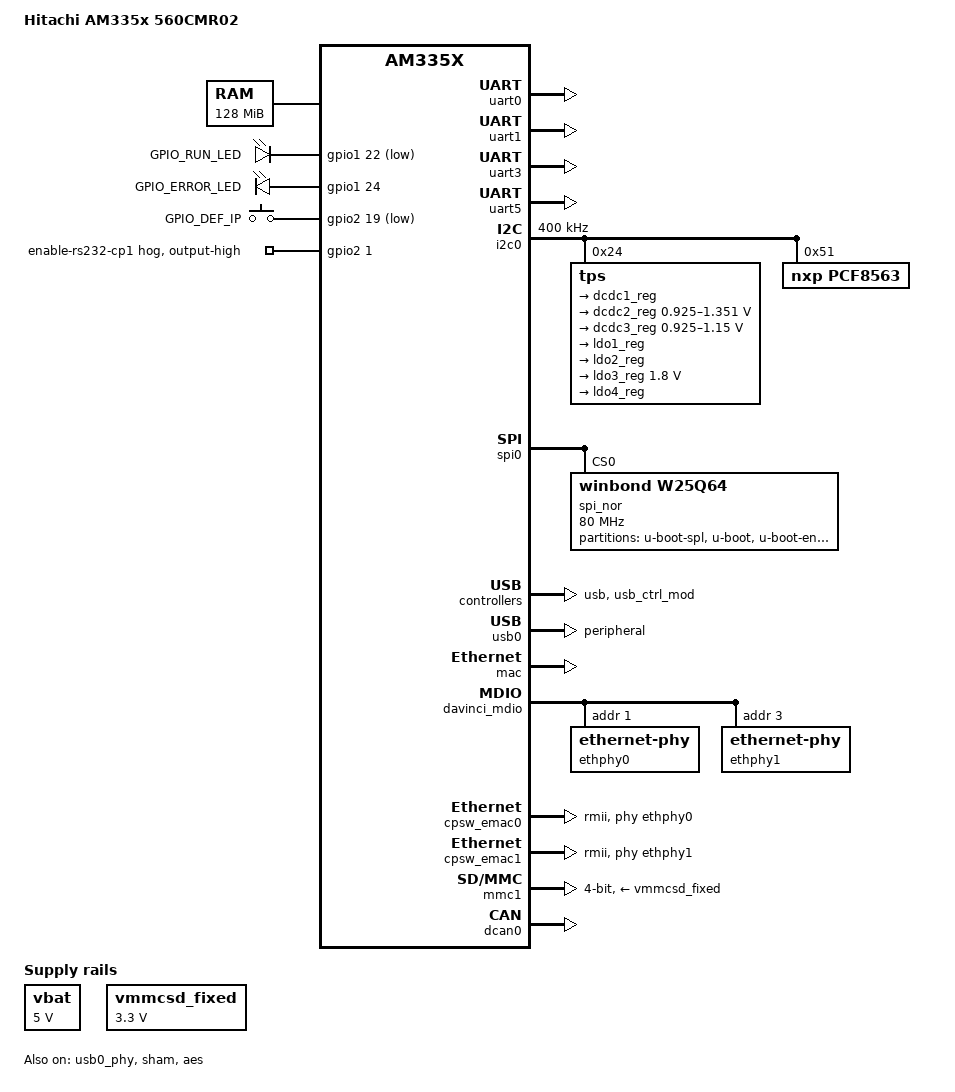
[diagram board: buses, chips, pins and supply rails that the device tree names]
/*
 * Copyright 2024 Hitachi Energy.
 *
 * This program is free software; you can redistribute it and/or modify
 * it under the terms of the GNU General Public License version 2 as
 * published by the Free Software Foundation.
 */

/* Hitachi 560CMR02 */

/dts-v1/;

#include "am33xx.dtsi"
#include "dt-bindings/input/input.h"

/ {
	model = "Hitachi AM335x 560CMR02";
	compatible = "ti,am335x-evm", "ti,am33xx", "hitachi,am335x-560cmr0x";

	cpus {
		cpu@0 {
			cpu0-supply = <&dcdc2_reg>;
		};
	};

	memory {
		device_type = "memory";
		reg = <0x80000000 0x8000000>; /* 128 MB */
	};

	vbat: fixedregulator@0 {
		compatible = "regulator-fixed";
		regulator-name = "vbat";
		regulator-min-microvolt = <5000000>;
		regulator-max-microvolt = <5000000>;
		regulator-boot-on;
	};

	vmmcsd_fixed: fixedregulator-sd {
		compatible = "regulator-fixed";
		regulator-name = "vmmcsd_fixed";
		regulator-min-microvolt = <3300000>;
		regulator-max-microvolt = <3300000>;
		enable-active-high;
	};

	status_leds {
		compatible = "gpio-leds";
		pinctrl-names = "default";
		pinctrl-0 = <&leds_pins_default>;
		led-green {
			label = "GPIO_RUN_LED";
			gpios = <&gpio1 22 GPIO_ACTIVE_LOW>;
			default-state = "off";
		};
		led-red {
			label = "GPIO_ERROR_LED";
			gpios = <&gpio1 24 GPIO_ACTIVE_HIGH>;
			default-state = "on";
		};
	};

	default_switch {
		compatible = "gpio-keys";
		pinctrl-names = "default";
		pinctrl-0 = <&switch_pins_default>;
		default-switch {
			label = "GPIO_DEF_IP";
			linux,code = <BTN_0>;
			gpios = <&gpio2 19 GPIO_ACTIVE_LOW>;
		};
	};
};

&am33xx_pinmux {
	pinctrl-names = "default";
	pinctrl-0 = <&clkout_pins_default &clkin_pins_default>;

	leds_pins_default: leds_default_pinmux {
		pinctrl-single,pins = <
			AM33XX_PADCONF(AM335X_PIN_GPMC_A6, PIN_OUTPUT, MUX_MODE7)		/* gpmc_a6.gpio1_22		=> GPIO_RUN_LED (high pull-up) */
			AM33XX_PADCONF(AM335X_PIN_GPMC_A8, PIN_OUTPUT, MUX_MODE7)		/* gpmc_a8.gpio1_24		=> GPIO_ERROR_LEDN (high pull-up) */
		>;
	};

	switch_pins_default: switch_default_pinmux {
		pinctrl-single,pins = <
			AM33XX_PADCONF(AM335X_PIN_MII1_RXD2, PIN_INPUT_PULLUP, MUX_MODE7)	/* mii1_rxd2.gpio2_19		=> GPIO_DEF_IP */
		>;
	};

	clkout_pins_default: clkout_default_pinmux {
		pinctrl-single,pins = <
			AM33XX_PADCONF(AM335X_PIN_GPMC_BEN0_CLE, PIN_OUTPUT_PULLDOWN, MUX_MODE2)	/* gpmc_ben0_cle.timer5_clkout */
		>;
	};

	clkin_pins_default: clkin_default_pinmux {
		pinctrl-single,pins = <
			AM33XX_PADCONF(AM335X_PIN_XDMA_EVENT_INTR1, PIN_INPUT_PULLUP, MUX_MODE2)	/* xdma_event_intr1.tclkin */
		>;
	};

	i2c0_pins_default: i2c0_default_pinmux {
		pinctrl-single,pins = <
			AM33XX_PADCONF(AM335X_PIN_I2C0_SDA, PIN_INPUT_PULLUP, MUX_MODE0)	/* i2c0_sda.i2c0_sda */
			AM33XX_PADCONF(AM335X_PIN_I2C0_SCL, PIN_INPUT_PULLUP, MUX_MODE0)	/* i2c0_scl.i2c0_scl */
		>;
	};

	spi0_pins_default: spi0_default_pinmux {
		pinctrl-single,pins = <
			AM33XX_PADCONF(AM335X_PIN_SPI0_SCLK, PIN_INPUT_PULLUP, MUX_MODE0)	/* spi0_sclk.spi0_sclk *
			AM33XX_PADCONF(AM335X_PIN_SPI0_D0, PIN_INPUT_PULLUP, MUX_MODE0)		/* spi0_d0.spi0_d0 */
			AM33XX_PADCONF(AM335X_PIN_SPI0_D1, PIN_INPUT_PULLUP, MUX_MODE0)		/* spi0_d1.spi0_d1 */
			AM33XX_PADCONF(AM335X_PIN_SPI0_CS0, PIN_INPUT_PULLUP, MUX_MODE0)	/* spi0_cs0.spi0_cs0 */
		>;
	};

	spi1_pins_default: spi1_default_pinmux {
		pinctrl-single,pins = <
			AM33XX_PADCONF(AM335X_PIN_MCASP0_ACLKX, PIN_INPUT_PULLUP, MUX_MODE3)	/* mcasp0_aclkx.spi1_sclk *
			AM33XX_PADCONF(AM335X_PIN_UART0_CTSN, PIN_INPUT_PULLUP, MUX_MODE4)	/* uart0_ctsn.spi1_d0 */
			AM33XX_PADCONF(AM335X_PIN_UART0_RTSN, PIN_INPUT_PULLUP, MUX_MODE4)	/* uart0_rtsn.spi1_d1 */
			AM33XX_PADCONF(AM335X_PIN_MCASP0_AHCLKR, PIN_INPUT_PULLUP, MUX_MODE3)	/* mcasp0_ahclkr.spi1_cs0 */
			AM33XX_PADCONF(AM335X_PIN_XDMA_EVENT_INTR0, PIN_INPUT_PULLUP, MUX_MODE4)	/* xdma_event_intr0.spi1_cs1 */
		>;
	};

	uart0_pins_default: uart0_default_pinmux {
		pinctrl-single,pins = <
			AM33XX_PADCONF(AM335X_PIN_UART0_RXD, PIN_INPUT_PULLUP, MUX_MODE0)	/* uart0_rxd.uart0_rxd */
			AM33XX_PADCONF(AM335X_PIN_UART0_TXD, PIN_OUTPUT_PULLDOWN, MUX_MODE0)	/* uart0_txd.uart0_txd */
		>;
	};

	uart1_pins_default: uart1_default_pinmux {
		pinctrl-single,pins = <
			AM33XX_PADCONF(AM335X_PIN_UART1_CTSN, PIN_INPUT, MUX_MODE0)		/* uart1_ctsn.uart1_ctsn */
			AM33XX_PADCONF(AM335X_PIN_UART1_RTSN, PIN_OUTPUT_PULLDOWN, MUX_MODE0)	/* uart1_rtsn.uart1_rtsn */
			AM33XX_PADCONF(AM335X_PIN_UART1_RXD, PIN_INPUT_PULLUP, MUX_MODE0)	/* uart1_rxd.uart1_rxd */
			AM33XX_PADCONF(AM335X_PIN_UART1_TXD, PIN_OUTPUT_PULLDOWN, MUX_MODE0)	/* uart1_txd.uart1_txd */
			AM33XX_PADCONF(AM335X_PIN_MII1_TX_CLK, PIN_INPUT_PULLUP, MUX_MODE5)	/* mii1_tx_clk.uart1_dcdn */
			AM33XX_PADCONF(AM335X_PIN_MII1_RXD3, PIN_OUTPUT_PULLDOWN, MUX_MODE5)	/* mii1_rxd3.uart1_dtrn */
			AM33XX_PADCONF(AM335X_PIN_MII1_RX_CLK, PIN_INPUT_PULLUP, MUX_MODE5)	/* mii1_rx_clk.uart1_dsrn */
		>;
	};

	uart3_pins_default: uart3_default_pinmux {
		pinctrl-single,pins = <
			AM33XX_PADCONF(AM335X_PIN_LCD_DATA11, PIN_OUTPUT_PULLDOWN, MUX_MODE6)	/* lcd_data11.uart3_rtsn */
			AM33XX_PADCONF(AM335X_PIN_SPI0_CS1, PIN_INPUT_PULLUP, MUX_MODE1)	/* spi0_cs1.uart3_rxd */
			AM33XX_PADCONF(AM335X_PIN_ECAP0_IN_PWM0_OUT, PIN_OUTPUT_PULLDOWN, MUX_MODE1)	/* ecap0_in_pwm0_out.uart3_txd */
			AM33XX_PADCONF(AM335X_PIN_GPMC_A7, PIN_OUTPUT, MUX_MODE7)		/* gpmc_a7.gpio1_23		=> GPIO_UART3_DTR */
		>;
	};

	uart5_pins_default: uart5_default_pinmux {
		pinctrl-single,pins = <
			AM33XX_PADCONF(AM335X_PIN_LCD_DATA14, PIN_INPUT, MUX_MODE6)		/* lcd_data14.uart5_ctsn */
			AM33XX_PADCONF(AM335X_PIN_LCD_DATA15, PIN_OUTPUT_PULLDOWN, MUX_MODE6)	/* lcd_data15.uart5_rtsn */
			AM33XX_PADCONF(AM335X_PIN_LCD_DATA9, PIN_INPUT_PULLUP, MUX_MODE4)	/* lcd_data9.uart5_rxd */
			AM33XX_PADCONF(AM335X_PIN_MII1_RX_DV, PIN_OUTPUT_PULLDOWN, MUX_MODE3)	/* mii1_rx_dv.uart5_txd */
			AM33XX_PADCONF(AM335X_PIN_LCD_DATA10, PIN_INPUT_PULLDOWN, MUX_MODE7)	/* lcd_data10.gpio2_16		=> GPIO_UART5_DCDN */
			AM33XX_PADCONF(AM335X_PIN_LCD_VSYNC, PIN_OUTPUT, MUX_MODE7)		/* lcd_vsync.gpio2_22		=> GPIO_UART5_DTR */
			AM33XX_PADCONF(AM335X_PIN_LCD_PCLK, PIN_INPUT_PULLDOWN, MUX_MODE7)	/* lcd_pclk.gpio2_24		=> GPIO_UART5_DSRN */
		>;
	};

	gpio0_pins_default: gpio0_default_pinmux {
		pinctrl-single,pins = <
			AM33XX_PADCONF(AM335X_PIN_LCD_DATA12, PIN_OUTPUT, MUX_MODE7)		/* lcd_data12.gpio0_8		=> GPIO_TEST_CR2032_BAT */
			AM33XX_PADCONF(AM335X_PIN_LCD_DATA13, PIN_OUTPUT_PULLDOWN, MUX_MODE7)	/* lcd_data13.gpio0_9		=> GPIO_ATR */
			AM33XX_PADCONF(AM335X_PIN_GPMC_AD8, PIN_INPUT_PULLDOWN, MUX_MODE7)	/* gpmc_ad8.gpio0_22		=> GPIO_PSF1 */
			AM33XX_PADCONF(AM335X_PIN_GPMC_AD9, PIN_INPUT_PULLDOWN, MUX_MODE7)	/* gpmc_ad9.gpio0_23		=> GPIO_PSF2 */
			AM33XX_PADCONF(AM335X_PIN_GPMC_AD10, PIN_INPUT, MUX_MODE7)		/* gpmc_ad10.gpio0_26		=> GPIO_EXT_IRQ0 */
			AM33XX_PADCONF(AM335X_PIN_GPMC_AD11, PIN_INPUT, MUX_MODE7)		/* gpmc_ad11.gpio0_27		=> GPIO_EXT_IRQ1 */
		>;
	};

	gpio1_pins_default: gpio1_default_pinmux {
		pinctrl-single,pins = <
			AM33XX_PADCONF(AM335X_PIN_GPMC_AD0, PIN_INPUT_PULLDOWN, MUX_MODE7)	/* gpmc_ad0.gpio1_0		=> GPIO_BOARD_ADDR0 */
			AM33XX_PADCONF(AM335X_PIN_GPMC_AD1, PIN_INPUT_PULLDOWN, MUX_MODE7)	/* gpmc_ad1.gpio1_1		=> GPIO_BOARD_ADDR1 */
			AM33XX_PADCONF(AM335X_PIN_GPMC_AD2, PIN_INPUT_PULLDOWN, MUX_MODE7)	/* gpmc_ad2.gpio1_2		=> GPIO_BOARD_ADDR2 */
			AM33XX_PADCONF(AM335X_PIN_GPMC_AD3, PIN_INPUT_PULLDOWN, MUX_MODE7)	/* gpmc_ad3.gpio1_3		=> GPIO_BOARD_ADDR3 */
			AM33XX_PADCONF(AM335X_PIN_GPMC_AD4, PIN_INPUT_PULLDOWN, MUX_MODE7)	/* gpmc_ad4.gpio1_4		=> GPIO_BOARD_ADDR4 */
			AM33XX_PADCONF(AM335X_PIN_GPMC_AD5, PIN_INPUT_PULLDOWN, MUX_MODE7)	/* gpmc_ad5.gpio1_5		=> GPIO_BOARD_ADDR5 */
			AM33XX_PADCONF(AM335X_PIN_GPMC_AD6, PIN_INPUT_PULLDOWN, MUX_MODE7)	/* gpmc_ad6.gpio1_6		=> GPIO_BOARD_ADDR6 */
			AM33XX_PADCONF(AM335X_PIN_GPMC_AD7, PIN_INPUT_PULLDOWN, MUX_MODE7)	/* gpmc_ad7.gpio1_7		=> GPIO_BOARD_ADDR7 */
			AM33XX_PADCONF(AM335X_PIN_GPMC_AD12, PIN_OUTPUT, MUX_MODE7)		/* gpmc_ad12.gpio1_12		=> GPIO_ENABLE_XBUS */
			AM33XX_PADCONF(AM335X_PIN_GPMC_AD13, PIN_OUTPUT_PULLDOWN, MUX_MODE7)	/* gpmc_ad13.gpio1_13		=> GPIO_E2_SWTICH */
			AM33XX_PADCONF(AM335X_PIN_GPMC_AD14, PIN_INPUT, MUX_MODE7)		/* gpmc_ad14.gpio1_14		=> GPIO_E2_INT_PD */
			AM33XX_PADCONF(AM335X_PIN_GPMC_A2, PIN_OUTPUT_PULLDOWN, MUX_MODE7)	/* gpmc_a2.gpio1_18		=> GPIO_TIMEMASTER */
			AM33XX_PADCONF(AM335X_PIN_GPMC_A3, PIN_OUTPUT, MUX_MODE7)		/* gpmc_a3.gpio1_19		=> GPIO_EXT_FEEDBACK */
			AM33XX_PADCONF(AM335X_PIN_GPMC_BEN1, PIN_OUTPUT, MUX_MODE7)		/* gpmc_ben1.gpio1_28		=> GPIO_EXT_IO2 */
			AM33XX_PADCONF(AM335X_PIN_GPMC_CSN0, PIN_OUTPUT, MUX_MODE7)		/* gpmc_csn0.gpio1_29		=> GPIO_EN_RS232_CP2 */
			AM33XX_PADCONF(AM335X_PIN_GPMC_CSN1, PIN_OUTPUT, MUX_MODE7)		/* gpmc_csn1.gpio1_30		=> GPIO_TERM_CP1_CPR01 */
			AM33XX_PADCONF(AM335X_PIN_GPMC_CSN2, PIN_OUTPUT, MUX_MODE7)		/* gpmc_csn2.gpio1_31		=> GPIO_TERM_CP2_CPR01 */
		>;
	};

	gpio2_pins_default: gpio2_default_pinmux {
		pinctrl-single,pins = <
			AM33XX_PADCONF(AM335X_PIN_GPMC_CSN3, PIN_OUTPUT, MUX_MODE7)		/* gpmc_csn3.gpio2_0		=> GPIO_TERM_XBUS */
			AM33XX_PADCONF(AM335X_PIN_GPMC_CLK, PIN_OUTPUT, MUX_MODE7)		/* gpmc_clk.gpio2_1		=> GPIO_EN_RS232_CP1 */
			AM33XX_PADCONF(AM335X_PIN_GPMC_ADVN_ALE, PIN_OUTPUT_PULLUP, MUX_MODE7)	/* gpmc_advn_ale.gpio2_2	=> GPIO_TSO */
			AM33XX_PADCONF(AM335X_PIN_GPMC_OEN_REN, PIN_INPUT_PULLUP, MUX_MODE7)	/* gpmc_oen_ren.gpio2_3		=> GPIO_TSI */
			AM33XX_PADCONF(AM335X_PIN_GPMC_WEN, PIN_INPUT, MUX_MODE7)		/* gpmc_wen.gpio2_4		=> GPIO_EXT_DETECT */
			AM33XX_PADCONF(AM335X_PIN_LCD_DATA0, PIN_OUTPUT, MUX_MODE7)		/* lcd_data0.gpio2_6		=> GPIO_DEBUG_IO0 */
			AM33XX_PADCONF(AM335X_PIN_LCD_DATA1, PIN_OUTPUT, MUX_MODE7)		/* lcd_data1.gpio2_7		=> GPIO_DEBUG_IO1 */
			AM33XX_PADCONF(AM335X_PIN_LCD_DATA2, PIN_INPUT, MUX_MODE7)		/* lcd_data2.gpio2_8		=> GPIO_ALR */
			AM33XX_PADCONF(AM335X_PIN_LCD_DATA3, PIN_INPUT, MUX_MODE7)		/* lcd_data3.gpio2_9		=> GPIO_WRN_INT */
			AM33XX_PADCONF(AM335X_PIN_LCD_DATA6, PIN_OUTPUT, MUX_MODE7)		/* lcd_data6.gpio2_12		=> GPIO_DISABLE_CAN */
			AM33XX_PADCONF(AM335X_PIN_LCD_DATA7, PIN_OUTPUT, MUX_MODE7)		/* lcd_data7.gpio2_13		=> GPIO_EXT_IO0 */
			AM33XX_PADCONF(AM335X_PIN_LCD_DATA8, PIN_OUTPUT, MUX_MODE7)		/* lcd_data8.gpio2_14		=> GPIO_EXT_IO1 */
			AM33XX_PADCONF(AM335X_PIN_LCD_HSYNC, PIN_INPUT, MUX_MODE7)		/* lcd_hsync.gpio2_23		=> GPIO_EXT_IRQ2 */
			AM33XX_PADCONF(AM335X_PIN_LCD_AC_BIAS_EN, PIN_INPUT, MUX_MODE7)		/* lcd_ac_bias_en.gpio2_25	=> GPIO_EXT_IRQ3 */
		>;
	};

	gpio3_pins_default: gpio3_default_pinmux {
		pinctrl-single,pins = <
			AM33XX_PADCONF(AM335X_PIN_EMU0, PIN_OUTPUT, MUX_MODE7)			/* emu0.gpio3_7			=> GPIO_DEBUG_IO2 */
			AM33XX_PADCONF(AM335X_PIN_EMU1, PIN_OUTPUT, MUX_MODE7)			/* emu1.gpio3_8			=> GPIO_DEBUG_IO3 */
			AM33XX_PADCONF(AM335X_PIN_MCASP0_FSX, PIN_OUTPUT, MUX_MODE7)		/* mcasp0_fsx.gpio3_15		=> GPIO_EXT_IO3 */
			AM33XX_PADCONF(AM335X_PIN_MCASP0_AXR0, PIN_OUTPUT_PULLUP, MUX_MODE7)	/* mcasp0_axr0.gpio3_16		=> GPIO_EXT_RESET */
			AM33XX_PADCONF(AM335X_PIN_MCASP0_AHCLKX, PIN_INPUT, MUX_MODE7)		/* mcasp0_ahclkx.gpio3_21	=> GPIO_E1_INT_PD */
		>;
	};

	eth_cpsw_pins_default: eth_cpsw_default_pinmux {
		pinctrl-single,pins = <
			/* E1 interface, RMII mode */
			AM33XX_PADCONF(AM335X_PIN_MII1_CRS, PIN_INPUT_PULLUP, MUX_MODE1)	/* mii1_crs.rmii1_crs_dv */
			AM33XX_PADCONF(AM335X_PIN_RMII1_REF_CLK, PIN_INPUT_PULLUP, MUX_MODE0)	/* rmii1_ref_clk.rmii1_ref_clk */
			AM33XX_PADCONF(AM335X_PIN_MII1_RXD0, PIN_INPUT_PULLUP, MUX_MODE1)	/* mii1_rxd0.rmii1_rxd0 */
			AM33XX_PADCONF(AM335X_PIN_MII1_RXD1, PIN_INPUT_PULLUP, MUX_MODE1)	/* mii1_rxd1.rmii1_rxd1 */
			AM33XX_PADCONF(AM335X_PIN_MII1_RX_ER, PIN_INPUT_PULLUP, MUX_MODE1)	/* mii1_rx_er.rmii1_rx_er */
			AM33XX_PADCONF(AM335X_PIN_MII1_TXD0, PIN_OUTPUT_PULLDOWN, MUX_MODE1)	/* mii1_txd0.rmii1_txd0 */
			AM33XX_PADCONF(AM335X_PIN_MII1_TXD1, PIN_OUTPUT_PULLDOWN, MUX_MODE1)	/* mii1_txd1.rmii1_txd1 */
			AM33XX_PADCONF(AM335X_PIN_MII1_TX_EN, PIN_OUTPUT_PULLDOWN, MUX_MODE1)	/* mii1_tx_en.rmii1_tx_en */
			AM33XX_PADCONF(AM335X_PIN_LCD_DATA4, PIN_OUTPUT, MUX_MODE7)		/* lcd_data4.gpio2_10		=> GPIO_E1_LED_SPEED */

			/* E2 interface, RMII mode */
			AM33XX_PADCONF(AM335X_PIN_GPMC_WAIT0, PIN_INPUT_PULLUP, MUX_MODE3)	/* gpmc_wait0.rmii2_crs_dv */
			AM33XX_PADCONF(AM335X_PIN_MII1_COL, PIN_INPUT_PULLUP, MUX_MODE1)	/* mii1_col.rmii2_refclk */
			AM33XX_PADCONF(AM335X_PIN_GPMC_A11, PIN_INPUT_PULLUP, MUX_MODE3)	/* gpmc_a11.rmii2_rxd0 */
			AM33XX_PADCONF(AM335X_PIN_GPMC_A10, PIN_INPUT_PULLUP, MUX_MODE3)	/* gpmc_a10.rmii2_rxd1 */
			AM33XX_PADCONF(AM335X_PIN_GPMC_WPN, PIN_INPUT_PULLUP, MUX_MODE3)	/* gpmc_wpn.rmii2_rxerr */
			AM33XX_PADCONF(AM335X_PIN_GPMC_A5, PIN_OUTPUT_PULLDOWN, MUX_MODE3)	/* gpmc_a5.rmii2_txd0 */
			AM33XX_PADCONF(AM335X_PIN_GPMC_A4, PIN_OUTPUT_PULLDOWN, MUX_MODE3)	/* gpmc_a4.rmii2_txd1 */
			AM33XX_PADCONF(AM335X_PIN_GPMC_A0, PIN_OUTPUT_PULLDOWN, MUX_MODE3)	/* gpmc_a0.rmii2_txen */
			AM33XX_PADCONF(AM335X_PIN_LCD_DATA5, PIN_OUTPUT, MUX_MODE7)		/* lcd_data5.gpio2_11		=> GPIO_E2_LED_SPEED */
		>;
	};

	mdio_pins_default: mdio_default_pinmux {
		pinctrl-single,pins = <
			/* MDIO */
			AM33XX_PADCONF(AM335X_PIN_MDIO, PIN_INPUT_PULLUP | SLEWCTRL_FAST, MUX_MODE0)	/* mdio.mdio */
			AM33XX_PADCONF(AM335X_PIN_MDC, PIN_OUTPUT_PULLUP, MUX_MODE0)			/* mdc.mdc */
		>;
	};

	mmc1_pins_default: mmc1_default_pinmux {
		pinctrl-single,pins = <
			AM33XX_PADCONF(AM335X_PIN_MMC0_DAT0, PIN_INPUT_PULLUP, MUX_MODE0)	/* mmc0_dat0.mmc0_dat0 */
			AM33XX_PADCONF(AM335X_PIN_MMC0_DAT1, PIN_INPUT_PULLUP, MUX_MODE0)	/* mmc0_dat1.mmc0_dat1 */
			AM33XX_PADCONF(AM335X_PIN_MMC0_DAT2, PIN_INPUT_PULLUP, MUX_MODE0)	/* mmc0_dat2.mmc0_dat2 */
			AM33XX_PADCONF(AM335X_PIN_MMC0_DAT3, PIN_INPUT_PULLUP, MUX_MODE0)	/* mmc0_dat3.mmc0_dat3 */
			AM33XX_PADCONF(AM335X_PIN_MMC0_CMD, PIN_INPUT_PULLUP, MUX_MODE0)	/* mmc0_cmd.mmc0_cmd */
			AM33XX_PADCONF(AM335X_PIN_MMC0_CLK, PIN_INPUT_PULLUP, MUX_MODE0)	/* mmc0_clk.mmc0_clk */
			AM33XX_PADCONF(AM335X_PIN_GPMC_A1, PIN_INPUT, MUX_MODE7)		/* gpmc_a1.gpio1_17		=> GPIO_MMC0_SDCD */
		>;
	};

	dcan0_pins_default: dcan0_default_pinmux {
		pinctrl-single,pins = <
			AM33XX_PADCONF(AM335X_PIN_MII1_TXD3, PIN_OUTPUT, MUX_MODE1)		/* mii1_txd3.dcan0_tx */
			AM33XX_PADCONF(AM335X_PIN_MII1_TXD2, PIN_INPUT_PULLDOWN, MUX_MODE1)	/* mii1_txd2.dcan0_rx */
		>;
	};

	usb0_pins_default: usb0_default_pinmux {
		pinctrl-single,pins = <
			AM33XX_PADCONF(AM335X_PIN_USB0_DRVVBUS, PIN_OUTPUT, MUX_MODE0)		/* usb0_drvvbus.usb0_drvvbus */
			AM33XX_PADCONF(AM335X_PIN_GPMC_A9, PIN_INPUT, MUX_MODE7)		/* gpmc_a9.gpio1_25		=> GPIO_USB0_OVCURR */
		>;
	};
};

&uart0 {
	status = "okay";
	pinctrl-names = "default";
	pinctrl-0 = <&uart0_pins_default>;
	u-boot,dm-spl;
};

&uart1 {
	status = "okay";
	pinctrl-names = "default";
	pinctrl-0 = <&uart1_pins_default>;
	u-boot,dm-spl;
};

&uart3 {
	status = "okay";
	pinctrl-names = "default";
	pinctrl-0 = <&uart3_pins_default>;
	dtr-gpios = <&gpio1 23 GPIO_ACTIVE_HIGH>;
};

&uart5 {
	status = "okay";
	pinctrl-names = "default";
	pinctrl-0 = <&uart5_pins_default>;
	dcd-gpios = <&gpio2 16 GPIO_ACTIVE_HIGH>;
	dtr-gpios = <&gpio2 22 GPIO_ACTIVE_HIGH>;
	dsr-gpios = <&gpio2 24 GPIO_ACTIVE_HIGH>;
};

&i2c0 {
	pinctrl-names = "default";
	pinctrl-0 = <&i2c0_pins_default>;

	status = "okay";
	clock-frequency = <400000>;

	tps: tps@24 {
		reg = <0x24>;
	};

	pcf8563@51 {
		compatible = "nxp,pcf8563";
		reg = <0x51>;
	};
};

/include/ "tps65217.dtsi"

&tps {
	interrupts = <7>; /* NMI */
	interrupt-parent = <&intc>;

	ti,pmic-shutdown-controller;

	regulators {
		dcdc1_reg: regulator@0 {
			regulator-name = "vdds_dpr";
			regulator-always-on;
		};

		dcdc2_reg: regulator@1 {
			/* VDD_MPU voltage limits 0.95V - 1.26V with +/-4% tolerance */
			regulator-name = "vdd_mpu";
			regulator-min-microvolt = <925000>;
			regulator-max-microvolt = <1351500>;
			regulator-boot-on;
			regulator-always-on;
		};

		dcdc3_reg: regulator@2 {
			/* VDD_CORE voltage limits 0.95V - 1.1V with +/-4% tolerance */
			regulator-name = "vdd_core";
			regulator-min-microvolt = <925000>;
			regulator-max-microvolt = <1150000>;
			regulator-boot-on;
			regulator-always-on;
		};

		ldo1_reg: regulator@3 {
			regulator-name = "vio,vrtc,vdds";
			regulator-always-on;
		};

		ldo2_reg: regulator@4 {
			regulator-name = "vdd_3v3aux";
			regulator-always-on;
		};

		ldo3_reg: regulator@5 {
			regulator-name = "vdd_1v8";
			regulator-min-microvolt = <1800000>;
			regulator-max-microvolt = <1800000>;
			regulator-always-on;
		};

		ldo4_reg: regulator@6 {
			regulator-name = "vdd_3v3a";
			regulator-always-on;
		};
	};
};

&spi0 {
	status = "okay";
	pinctrl-names = "default";
	pinctrl-0 = <&spi0_pins_default>;
	u-boot,dm-spl;

	spi_nor: flash@0 {
		#address-cells = <1>;
		#size-cells = <1>;
		compatible = "winbond,w25q64", "jedec,spi-nor";
		spi-max-frequency = <80000000>;
		m25p,fast-read;
		reg = <0>;

		partition@0 {
			label = "u-boot-spl";
			reg = <0x0 0x80000>;
			read-only;
		};

		partition@1 {
			label = "u-boot";
			reg = <0x80000 0x100000>;
			read-only;
		};

		partition@2 {
			label = "u-boot-env";
			reg = <0x180000 0x20000>;
			read-only;
		};

		partition@3 {
			label = "misc";
			reg = <0x1A0000 0x660000>;
		};
	};
};

&usb {
	status = "okay";
};

&usb_ctrl_mod {
	status = "okay";
};

&usb0_phy {
	status = "okay";
};

&usb0 {
	status = "okay";
	pinctrl-names = "default";
	pinctrl-0 = <&usb0_pins_default>;
	dr_mode = "peripheral";
};

&cppi41dma  {
	status = "okay";
};

&mac {
	status = "okay";
	pinctrl-names = "default";
	pinctrl-0 = <&eth_cpsw_pins_default>;
	dual_emac;
};

&davinci_mdio {
	status = "okay";
	pinctrl-names = "default";
	pinctrl-0 = <&mdio_pins_default>;

	ethphy0: ethernet-phy@1 {
		reg = <1>;
	};

	ethphy1: ethernet-phy@3 {
		reg = <3>;
	};
};

&cpsw_emac0 {
	phy-handle = <&ethphy0>;
	phy-mode = "rmii";
	dual_emac_res_vlan = <1>;
};

&cpsw_emac1 {
	phy-handle = <&ethphy1>;
	phy-mode = "rmii";
	dual_emac_res_vlan = <2>;
};

&mmc1 {
	status = "okay";
	vmmc-supply = <&vmmcsd_fixed>;
	bus-width = <4>;
	pinctrl-names = "default";
	pinctrl-0 = <&mmc1_pins_default>;
	brocken-cd;
	u-boot,dm-spl;
};

&sham {
	status = "okay";
};

&aes {
	status = "okay";
};

&dcan0 {
	status = "okay";
	pinctrl-names = "default";
	pinctrl-0 = <&dcan0_pins_default>;
};

&gpio0 {
	status = "okay";
	pinctrl-names = "default";
	pinctrl-0 = <&gpio0_pins_default>;
	gpio-line-names =
		"",                     "",         "",              "",              /* 0..3 */
		"",                     "",         "",              "",              /* 4..7 */
		"GPIO_TEST_CR2032_BAT", "GPIO_ATR", "",              "",              /* 8..11 */
		"",                     "",         "",              "",              /* 12..15 */
		"",                     "",         "",              "",              /* 16..19 */
		"",                     "",         "GPIO_PSF1",     "GPIO_PSF2",     /* 20..23 */
		"",                     "",         "GPIO_EXT_IRQ0", "GPIO_EXT_IRQ1", /* 24..27 */
		"",                     "",         "",              "";              /* 28..31 */
};

&gpio1 {
	status = "okay";
	pinctrl-names = "default";
	pinctrl-0 = <&gpio1_pins_default>;
	gpio-line-names =
		"GPIO_BOARD_ADDR0", "GPIO_BOARD_ADDR1",  "GPIO_BOARD_ADDR2",    "GPIO_BOARD_ADDR3",    /* 0..3 */
		"GPIO_BOARD_ADDR4", "GPIO_BOARD_ADDR5",  "GPIO_BOARD_ADDR6",    "GPIO_BOARD_ADDR7",    /* 4..7 */
		"",                 "",                  "",                    "",                    /* 8..11 */
		"GPIO_ENABLE_XBUS", "GPIO_E2_SWTICH",    "GPIO_E2_INT_PD",      "NC",                  /* 12..15 */
		"",                 "GPIO_MMC0_SDCD",    "GPIO_TIMEMASTER",     "GPIO_EXT_FEEDBACK",   /* 16..19 */
		"",                 "",                  "GPIO_RUN_LED",        "GPIO_UART3_DTR",      /* 20..23 */
		"GPIO_ERROR_LED",   "GPIO_USB0_OVCURR",  "",                    "",                    /* 24..27 */
		"GPIO_EXT_IO2",     "GPIO_EN_RS232_CP2", "GPIO_TERM_CP1_CPR01", "GPIO_TERM_CP2_CPR01"; /* 28..31 */
};

&gpio2 {
	status = "okay";
	pinctrl-names = "default";
	pinctrl-0 = <&gpio2_pins_default>;
	gpio-line-names =
		"GPIO_TERM_XBUS",   "GPIO_EN_RS232_CP1", "GPIO_TSO",          "GPIO_TSI",          /* 0..3 */
		"GPIO_EXT_DETECT",  "",                  "GPIO_DEBUG_IO0",    "GPIO_DEBUG_IO1",    /* 4..7 */
		"GPIO_ALR",         "GPIO_WRN_INT",      "GPIO_E1_LED_SPEED", "GPIO_E2_LED_SPEED", /* 8..11 */
		"GPIO_DISABLE_CAN", "GPIO_EXT_IO0",      "GPIO_EXT_IO2",      "",                  /* 12..15 */
		"GPIO_UART5_DCDN",  "",                  "",                  "GPIO_DEF_IP",       /* 16..19 */
		"",                 "",                  "GPIO_UART5_DTR",    "GPIO_EXT_IRQ2",     /* 20..23 */
		"GPIO_UART5_DSRN",  "GPIO_EXT_IRQ3",     "",                  "",                  /* 24..27 */
		"",                 "",                  "",                  "";                  /* 28..31 */

    enable-rs232-cp1 {
        gpio-hog;
        gpios = <1 GPIO_ACTIVE_HIGH>;
        output-high;
    };
};

&gpio3 {
	status = "okay";
	pinctrl-names = "default";
	pinctrl-0 = <&gpio3_pins_default>;
	gpio-line-names =
		"",               "",               "",   "",               /* 0..3 */
		"",               "",               "",   "GPIO_DEBUG_IO2", /* 4..7 */
		"GPIO_DEBUG_IO3", "",               "",   "",               /* 8..11 */
		"",               "",               "",   "GPIO_EXT_IO3",   /* 12..15 */
		"GPIO_EXT_RESET", "",               "NC", "NC",             /* 16..19 */
		"NC",             "GPIO_E1_INT_PD", "",   "",               /* 20..23 */
		"",               "",               "",   "",               /* 24..27 */
		"",               "",               "",   "";               /* 28..31 */
};
